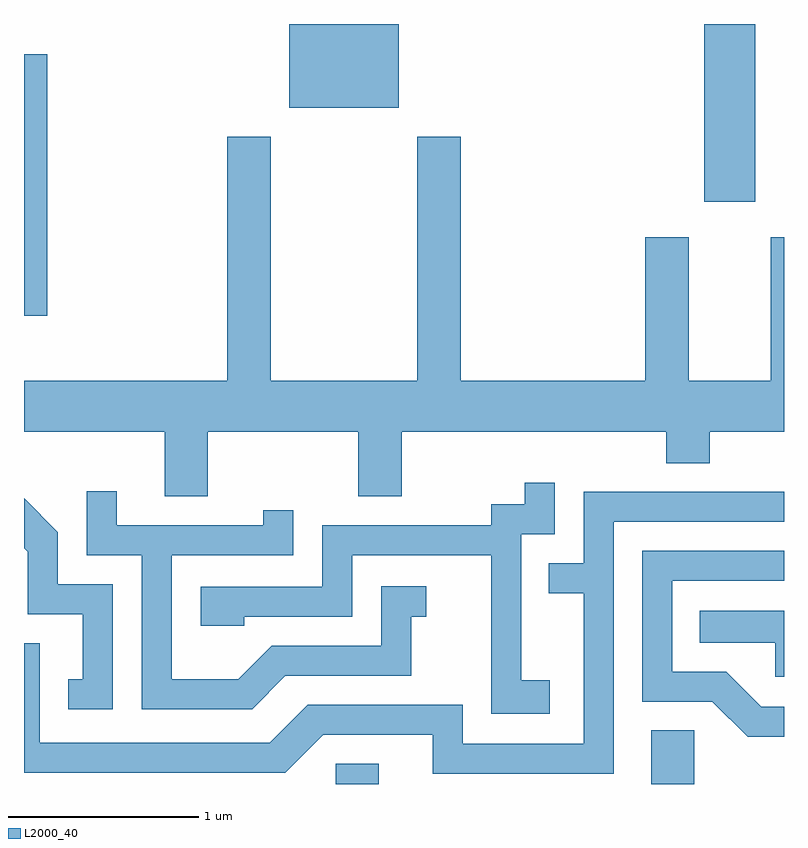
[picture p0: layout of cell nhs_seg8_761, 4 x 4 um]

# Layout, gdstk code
import gdstk
lib = gdstk.Library(unit=1e-6, precision=1e-09)
def R(c, l, rs):  # rectangles x0, y0, x1, y1
    for r in rs: c.add(gdstk.rectangle(r[:2], r[2:], *l))
def P(c, l, *ps):  # polygons
    for p in ps: c.add(gdstk.Polygon(p, *l))
L2000_40 = (2000, 40)

nhs_seg8_761 = lib.new_cell('nhs_seg8_761')
R(nhs_seg8_761, L2000_40, [(209.251,1832.342,209.479,1832.449), (210.911,1832.342,211.139,1832.624), (207.611,1834.806,207.734,1836.184), (211.191,1835.406,211.459,1836.342), (209.006,1835.901,209.584,1836.342)])
P(nhs_seg8_761, L2000_40, [(208.579,1834.196),(209.371,1834.196),(209.371,1833.856),(209.599,1833.856),(209.599,1834.196),(210.991,1834.196),(210.991,1834.031),(211.219,1834.031),(211.219,1834.196),(211.611,1834.196),(211.611,1835.219),(211.541,1835.219),(211.541,1834.464),(211.109,1834.464),(211.109,1835.219),(210.881,1835.219),(210.881,1834.464),(209.909,1834.464),(209.909,1835.749),(209.681,1835.749),(209.681,1834.464),(208.909,1834.464),(208.909,1835.749),(208.681,1835.749),(208.681,1834.464),(207.611,1834.464),(207.611,1834.196),(208.351,1834.196),(208.351,1833.856),(208.579,1833.856)],
  [(210.379,1832.889),(210.229,1832.889),(210.229,1833.656),(210.404,1833.656),(210.404,1833.928),(210.246,1833.928),(210.246,1833.814),(210.071,1833.814),(210.071,1833.704),(209.181,1833.704),(209.181,1833.379),(208.541,1833.379),(208.541,1833.176),(208.769,1833.176),(208.769,1833.221),(209.339,1833.221),(209.339,1833.546),(210.071,1833.546),(210.071,1832.711),(210.379,1832.711)],
  [(208.987,1832.911),(209.649,1832.911),(209.649,1833.221),(209.728,1833.221),(209.728,1833.384),(209.491,1833.384),(209.491,1833.069),(208.914,1833.069),(208.739,1832.894),(208.389,1832.894),(208.389,1833.546),(209.029,1833.546),(209.029,1833.783),(208.871,1833.783),(208.871,1833.704),(208.099,1833.704),(208.099,1833.883),(207.941,1833.883),(207.941,1833.546),(208.231,1833.546),(208.231,1832.736),(208.812,1832.736)],
  [(210.714,1833.721),(211.611,1833.721),(211.611,1833.879),(210.556,1833.879),(210.556,1833.504),(210.373,1833.504),(210.373,1833.346),(210.556,1833.346),(210.556,1832.554),(209.919,1832.554),(209.919,1832.759),(209.104,1832.759),(208.904,1832.559),(207.694,1832.559),(207.694,1833.084),(207.611,1833.084),(207.611,1832.401),(208.987,1832.401),(209.187,1832.601),(209.761,1832.601),(209.761,1832.396),(210.714,1832.396)],
  [(208.079,1833.394),(207.789,1833.394),(207.789,1833.667),(207.611,1833.845),(207.611,1833.584),(207.631,1833.564),(207.631,1833.236),(207.921,1833.236),(207.921,1832.894),(207.843,1832.894),(207.843,1832.736),(208.079,1832.736)],
  [(211.611,1832.749),(211.492,1832.749),(211.307,1832.934),(211.024,1832.934),(211.024,1833.411),(211.611,1833.411),(211.611,1833.569),(210.866,1833.569),(210.866,1832.776),(211.234,1832.776),(211.419,1832.591),(211.611,1832.591)],
  [(211.611,1833.254),(211.168,1833.254),(211.168,1833.086),(211.566,1833.086),(211.566,1832.906),(211.611,1832.906)])

lib.write_gds('nhs_seg8_761.gds')
